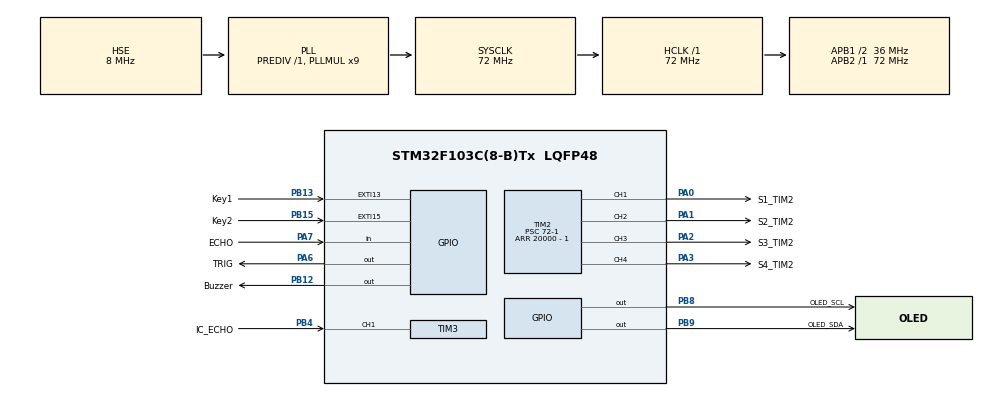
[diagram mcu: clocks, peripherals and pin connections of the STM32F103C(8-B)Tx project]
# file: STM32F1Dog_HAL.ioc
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Mcu.Family=STM32F1
Mcu.Name=STM32F103C(8-B)Tx
Mcu.Package=LQFP48
NVIC.EXTI15_10_IRQn=true\:1\:0\:true\:false\:true\:true\:true\:true
NVIC.PriorityGroup=NVIC_PRIORITYGROUP_4
NVIC.TIM2_IRQn=true\:3\:0\:true\:false\:true\:true\:true\:true
NVIC.TIM3_IRQn=true\:2\:0\:true\:false\:true\:true\:true\:true
PA0-WKUP.GPIO_Label=S1_TIM2
PA0-WKUP.GPIO_Speed=GPIO_SPEED_FREQ_HIGH
PA0-WKUP.Signal=S_TIM2_CH1_ETR
PA1.GPIO_Label=S2_TIM2
PA1.GPIO_Speed=GPIO_SPEED_FREQ_HIGH
PA1.Signal=S_TIM2_CH2
PA13.Mode=Serial_Wire
PA13.Signal=SYS_JTMS-SWDIO
PA14.Mode=Serial_Wire
PA14.Signal=SYS_JTCK-SWCLK
PA2.GPIO_Label=S3_TIM2
PA2.GPIO_Speed=GPIO_SPEED_FREQ_HIGH
PA2.Signal=S_TIM2_CH3
PA3.GPIO_Label=S4_TIM2
PA3.GPIO_Speed=GPIO_SPEED_FREQ_HIGH
PA3.Signal=S_TIM2_CH4
PA6.GPIO_Label=TRIG
PA6.GPIO_Speed=GPIO_SPEED_FREQ_HIGH
PA6.Signal=GPIO_Output
PA7.GPIO_Label=ECHO
PA7.GPIO_PuPd=GPIO_PULLDOWN
PA7.Signal=GPIO_Input
PB12.GPIO_Label=Buzzer
PB12.GPIO_Speed=GPIO_SPEED_FREQ_HIGH
PB12.PinState=GPIO_PIN_SET
PB12.Signal=GPIO_Output
PB13.GPIO_Label=Key1
PB13.GPIO_ModeDefaultEXTI=GPIO_MODE_IT_FALLING
PB13.GPIO_PuPd=GPIO_PULLUP
PB13.Signal=GPXTI13
PB15.GPIO_Label=Key2
PB15.GPIO_ModeDefaultEXTI=GPIO_MODE_IT_FALLING
PB15.GPIO_PuPd=GPIO_PULLUP
PB15.Signal=GPXTI15
PB4.GPIO_Label=IC_ECHO
PB4.Signal=S_TIM3_CH1
PB8.GPIO_Label=OLED_SCL
PB8.GPIO_ModeDefaultOutputPP=GPIO_MODE_OUTPUT_OD
PB8.GPIO_PuPd=GPIO_NOPULL
PB8.GPIO_Speed=GPIO_SPEED_FREQ_HIGH
PB8.PinState=GPIO_PIN_SET
PB8.Signal=GPIO_Output
PB9.GPIO_Label=OLED_SDA
PB9.GPIO_ModeDefaultOutputPP=GPIO_MODE_OUTPUT_OD
PB9.GPIO_PuPd=GPIO_NOPULL
PB9.GPIO_Speed=GPIO_SPEED_FREQ_HIGH
PB9.PinState=GPIO_PIN_SET
PB9.Signal=GPIO_Output
PD0-OSC_IN.Mode=HSE-External-Oscillator
PD0-OSC_IN.Signal=RCC_OSC_IN
PD1-OSC_OUT.Mode=HSE-External-Oscillator
PD1-OSC_OUT.Signal=RCC_OSC_OUT
ProjectManager.HeapSize=0x200
ProjectManager.StackSize=0x400
ProjectManager.TargetToolchain=CMake
RCC.AHBFreq_Value=72000000
RCC.APB1CLKDivider=RCC_HCLK_DIV2
RCC.APB1Freq_Value=36000000
RCC.APB1TimFreq_Value=72000000
RCC.APB2Freq_Value=72000000
RCC.APB2TimFreq_Value=72000000
RCC.HCLKFreq_Value=72000000
RCC.PLLMUL=RCC_PLL_MUL9
RCC.PLLSourceVirtual=RCC_PLLSOURCE_HSE
RCC.SYSCLKFreq_VALUE=72000000
RCC.SYSCLKSource=RCC_SYSCLKSOURCE_PLLCLK
RCC.USBFreq_Value=72000000
SH.S_TIM2_CH1_ETR.0=TIM2_CH1,PWM Generation1 CH1
SH.S_TIM2_CH2.0=TIM2_CH2,PWM Generation2 CH2
SH.S_TIM2_CH3.0=TIM2_CH3,PWM Generation3 CH3
SH.S_TIM2_CH4.0=TIM2_CH4,PWM Generation4 CH4
SH.S_TIM3_CH1.0=TIM3_CH1,Input_Capture1_from_TI1
SH.S_TIM3_CH1.1=TIM3_CH1,TriggerSource_TI1FP1
TIM2.AutoReloadPreload=TIM_AUTORELOAD_PRELOAD_ENABLE
TIM2.Channel-PWM\ Generation1\ CH1=TIM_CHANNEL_1
TIM2.Channel-PWM\ Generation2\ CH2=TIM_CHANNEL_2
TIM2.Channel-PWM\ Generation3\ CH3=TIM_CHANNEL_3
TIM2.Channel-PWM\ Generation4\ CH4=TIM_CHANNEL_4
TIM2.Period=20000 - 1
TIM2.Prescaler=72-1
TIM3.AutoReloadPreload=TIM_AUTORELOAD_PRELOAD_ENABLE
TIM3.Channel-Input_Capture1_from_TI1=TIM_CHANNEL_1
TIM3.Channel-Input_Capture2_from_TI1_63=TIM_CHANNEL_2
TIM3.ICPolarity_CH2=TIM_INPUTCHANNELPOLARITY_FALLING
TIM3.Prescaler=72-1
TIM3.TIM_MasterSlaveMode=TIM_MASTERSLAVEMODE_ENABLE
VP_TIM2_VS_ClockSourceINT.Mode=Internal
VP_TIM3_VS_ClockSourceINT.Mode=Internal
VP_TIM3_VS_ControllerModeReset.Mode=Reset Mode
VP_TIM3_VS_indirect_ch1.Mode=Input_Capture2_from_TI1_63
board=custom

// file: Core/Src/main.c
/* USER CODE BEGIN Header */
/**
  ******************************************************************************
  * @file           : main.c
  * @brief          : 基于STM32的超声波雷达系统主程序
  ******************************************************************************
  * 【功能描述】
  * 1. 上电后舵机开始0-180度来回扫描，像雷达一样
  * 2. OLED显示炫酷的雷达扫描图形UI
  * 3. 当距离小于设定阈值时：LED呼吸灯闪烁 + 蜂鸣器鸣叫 + 舵机停止
  * 4. Key1按下：舵机继续旋转扫描
  * 5. Key2按下：舵机立即停止旋转（任何时候都有效）
  * 6. 整个过程中，超声波测距和OLED显示一直进行，不受舵机状态影响
  ******************************************************************************
  */
/* USER CODE END Header */
#include "main.h"
#include "tim.h"
#include "gpio.h"

/* USER CODE BEGIN Includes */
#include "delay.h"
#include "key.h"
#include "oled.h"
#include "ultrasonic.h"
#include "servo.h"
#include "breath_led.h"
#include "buzzer.h"
#include "radar_ui.h"
#include <stdio.h>

/* USER CODE END Includes */

/* USER CODE BEGIN PD */

/* ==================== 系统参数配置 ==================== */
#define DISTANCE_THRESHOLD    10.0f   /* 距离报警阈值：小于10cm触发报警 */
#define SERVO_ROTATE_PERIOD   60      /* 舵机步进周期，单位：毫秒（值越大转越慢） */
#define ULTRASONIC_PERIOD     120     /* 超声波测距周期，单位：毫秒 */
#define BREATH_LED_PERIOD     20      /* 呼吸灯更新周期，单位：毫秒 */
#define DISPLAY_PERIOD        50      /* OLED刷新周期，单位：毫秒 */

/* USER CODE END PD */

/* USER CODE BEGIN PV */

float distance = 0.0f;                /* 超声波测得的距离值 */
uint8_t alarm_flag = 0;               /* 报警标志：1=距离小于阈值，触发报警 */

/* 软件定时器变量 - 实现非阻塞延时 */
uint32_t timer_servo = 0;             /* 舵机定时器 */
uint32_t timer_ultrasonic = 0;        /* 超声波定时器 */
uint32_t timer_breath = 0;            /* 呼吸灯定时器 */
uint32_t timer_display = 0;           /* OLED显示定时器 */
// char oled_buf[32];                    /* OLED显示缓冲区 */

/* USER CODE END PV */

void SystemClock_Config(void);

int main(void)
{

  /* MCU Configuration--------------------------------------------------------*/

  /* Reset of all peripherals, Initializes the Flash interface and the Systick. */
  HAL_Init();

  /* Configure the system clock */
  SystemClock_Config();

  /* Initialize all configured peripherals */
  MX_GPIO_Init();
  MX_TIM2_Init();
  MX_TIM3_Init();
  /* USER CODE BEGIN 2 */

    /* ======================================
               模块初始化
       ====================================== */
    // delay_init();               /* 初始化延时函数 */
    OLED_Init();                /* 初始化OLED屏幕 */
    Key_Init();                 /* 初始化按键（中断方式） */
    Ultrasonic_IC_Init();       /* 初始化超声波模块（输入捕获模式） */
    Servo_Init();               /* 初始化舵机 */
    BreathLED_Init();           /* 初始化呼吸灯 */
    Buzzer_Init();              /* 初始化蜂鸣器 */
    RadarUI_Init();             /* 初始化雷达UI */

    /* 设置舵机步进角度 - 每次走2度，扫描更流畅 */
    Servo_SetStep(2.0f);

    /* 开机雷达LOGO */
    OLED_Clear();
    OLED_ShowString(1, 3, "ULTRASONIC");
    OLED_ShowString(2, 5, "RADAR");
    OLED_ShowString(4, 2, "System Ready!");
    HAL_Delay(1500);
    OLED_Clear();

    /* 初始化软件定时器 - 获取当前系统时间 */
    timer_servo = HAL_GetTick();
    timer_ultrasonic = HAL_GetTick();
    timer_breath = HAL_GetTick();
    timer_display = HAL_GetTick();

  /* USER CODE END 2 */

  /* Infinite loop */
  /* USER CODE BEGIN WHILE */
  while (1)
  {
        /* ======================================
                   0. 按键消抖处理
           【重要】必须放在最前面执行
                 中断只设标志，消抖在这里判断
           ====================================== */
        Key_DebounceProcess();

        /* ======================================
                   1. 按键命令处理
           消抖确认后的按键才执行操作
           ====================================== */

        /* Key1按下：舵机继续旋转 */
        if(Key1_Flag == 1)
        {
            Servo_SetRunState(1);          /* 舵机开始旋转 */
            Key_ClearFlag(1);              /* 清除按键标志 */
        }

        /* Key2按下：舵机立即停止 - 任何时候都有效！ */
        if(Key2_Flag == 1)
        {
            Servo_SetRunState(0);          /* 舵机立即停止 */
            Key_ClearFlag(2);              /* 清除按键标志 */
        }

        /* ======================================
                   2. 超声波测距（定时执行）
                   每120ms测量一次
           ====================================== */
        if(HAL_GetTick() - timer_ultrasonic >= ULTRASONIC_PERIOD)
        {
            timer_ultrasonic = HAL_GetTick();  /* 重置定时器 */

            /* 触发超声波测量 - 非阻塞 */
            Ultrasonic_IC_Trigger();

            /* 读取距离值 */
            distance = Ultrasonic_IC_Read_cm();

            /* ======================================
                       3. 距离阈值判断
               ====================================== */
            if(distance < DISTANCE_THRESHOLD && distance > 0)
            {
                /* 距离小于阈值，触发报警 */
                alarm_flag = 1;
                BreathLED_Enable(1);         /* 开启LED呼吸灯 */
                Buzzer_Alarm(1);             /* 开启蜂鸣器 */
                Servo_SetRunState(0);        /* 舵机停止转动 */
            }
            else
            {
                /* 距离正常，解除报警
                   注意：这里不自动恢复舵机旋转，需要按Key1手动恢复 */
                alarm_flag = 0;
                BreathLED_Enable(0);         /* 关闭呼吸灯 */
                Buzzer_Alarm(0);             /* 关闭蜂鸣器 */
            }
        }

        /* ======================================
                   4. 舵机步进旋转（定时执行）
                   每60ms步进一次
           ====================================== */
        if(HAL_GetTick() - timer_servo >= SERVO_ROTATE_PERIOD)
        {
            timer_servo = HAL_GetTick();     /* 重置定时器 */
            Servo_StepRotate();              /* 舵机步进（内部判断是否允许运行） */
        }

        /* ======================================
                   5. 呼吸灯效果更新（定时执行）
                   每20ms更新一次亮度
           ====================================== */
        if(HAL_GetTick() - timer_breath >= BREATH_LED_PERIOD)
        {
            timer_breath = HAL_GetTick();    /* 重置定时器 */
            BreathLED_Process();             /* 更新呼吸灯亮度 */
        }

        /* ======================================
                   6. 雷达UI显示（定时执行）
                   每50ms刷新一帧画面
           ====================================== */
        if(HAL_GetTick() - timer_display >= DISPLAY_PERIOD)
        {
            timer_display = HAL_GetTick();   /* 重置定时器 */

            /* ----- 绘制雷达一帧 ----- */
            OLED_ClearBuffer();              /* 清空绘图缓冲区 */

            RadarUI_DrawBackground();        /* 1. 画雷达背景（刻度线） */

            RadarUI_DrawScanLine(Servo_CurrentAngle);  /* 2. 画当前扫描线 */

            /* 如果距离有效，在雷达上标记目标点 */
            if(distance > 0 && distance < 60.0f)
            {
                RadarUI_DrawTarget(Servo_CurrentAngle, distance);
            }

            OLED_Refresh();                  /* 3. 把整个雷达图刷新到屏幕 */

            /* ----- 在底部显示文字信息 ----- */
            RadarUI_ShowInfo(distance, alarm_flag, Servo_RunFlag);
        }

    /* USER CODE END WHILE */

  }
}

void SystemClock_Config(void)
{
  RCC_OscInitTypeDef RCC_OscInitStruct = {0};
  RCC_ClkInitTypeDef RCC_ClkInitStruct = {0};

  /** Initializes the RCC Oscillators according to the specified parameters
  * in the RCC_OscInitTypeDef structure.
  */
  RCC_OscInitStruct.OscillatorType = RCC_OSCILLATORTYPE_HSE;
  RCC_OscInitStruct.HSEState = RCC_HSE_ON;
  RCC_OscInitStruct.HSEPredivValue = RCC_HSE_PREDIV_DIV1;
  RCC_OscInitStruct.HSIState = RCC_HSI_ON;
  RCC_OscInitStruct.PLL.PLLState = RCC_PLL_ON;
  RCC_OscInitStruct.PLL.PLLSource = RCC_PLLSOURCE_HSE;
  RCC_OscInitStruct.PLL.PLLMUL = RCC_PLL_MUL9;
  if (HAL_RCC_OscConfig(&RCC_OscInitStruct) != HAL_OK)
  {
    Error_Handler();
  }

  /** Initializes the CPU, AHB and APB buses clocks
  */
  RCC_ClkInitStruct.ClockType = RCC_CLOCKTYPE_HCLK|RCC_CLOCKTYPE_SYSCLK
                              |RCC_CLOCKTYPE_PCLK1|RCC_CLOCKTYPE_PCLK2;
  RCC_ClkInitStruct.SYSCLKSource = RCC_SYSCLKSOURCE_PLLCLK;
  RCC_ClkInitStruct.AHBCLKDivider = RCC_SYSCLK_DIV1;
  RCC_ClkInitStruct.APB1CLKDivider = RCC_HCLK_DIV2;
  RCC_ClkInitStruct.APB2CLKDivider = RCC_HCLK_DIV1;

  if (HAL_RCC_ClockConfig(&RCC_ClkInitStruct, FLASH_LATENCY_2) != HAL_OK)
  {
    Error_Handler();
  }
}

void Error_Handler(void)
{
  __disable_irq();
  while (1)
  {
  }
}
